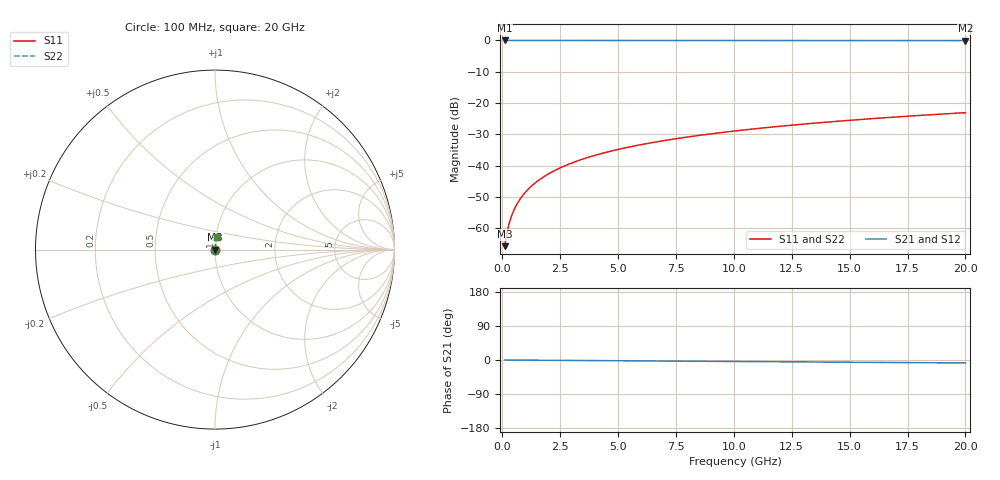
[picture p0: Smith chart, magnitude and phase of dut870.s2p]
! Touchstone file exported from HFSS 2026.1.0
!  File:  C:/ffzhzh/LocalFiles/Ansys_Project_Files/temp_train_TSV_870_1783185538_18472.aedt
!  Generated:  01:20:40 AM Jul  5, 2026
!  Design:  TSV
!  Project:  temp_train_TSV_870_1783185538_18472
! Variables:
!  h_bsmrdl = 2um
!  h_ox = 20um
!  h_rdl = 5um
!  h_sub = 62.11um
!  h_tmrdl = 5um
!  h_tsv = 62.11um
!  h_via = 3um
!  l_bsmrdl = 300um
!  l_sub = 409.64um
!  l_tmrdl = 200um
!  m_sub = 200um
!  pitch = 44.7um
!  r_tsv = 4.82um
!  s_tmrdl = 10um
!  w_bsmrdl = 18um
!  w_sub = 500um
!  w_tmrdl = 12um
!  x_tsv_center1 = 206um
!  x_tsv_center2 = 524um
!  x_tsv_center3 = 736um
!  x_tsv_center4 = 1054um
!  x_tsv_center5 = 1266um
!  x_tsv_center6 = 1584um
# GHz S MA R 50.000000
! Terminal data exported
! Port[1] = TSV1_1_T1
! Port[2] = TSV1_1_T2
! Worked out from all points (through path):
!   200 points, 100 MHz to 20 GHz, reference 50 ohm
!   highest |S21| = 0.00 dB at 100 MHz (marker M1); lowest = 0.0 dB at 20 GHz (marker M2)
!   group delay of S21, straight-line fit = 1.08 ps
!   lowest |S11| = -65.8 dB at 100 MHz (marker M3), VSWR 1.00, Z = 50 + j0.0386 ohm
!   |S11| at or under -10 dB: start of sweep to end of sweep
!   |S22| runs from -65.8 to -23.1 dB; largest |S21 - S12| = 8.7e-15
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0.1  0.0005142 48.7  0.9997 -0.0  0.9997 -0.0  0.0005142 48.7
! Gamma 0 0 0 0
! Port Impedance 50 0 50 0
0.2  0.000845 65.6  0.9997 -0.1  0.9997 -0.1  0.000845 65.6
0.3  0.001204 72.4  0.9996 -0.1  0.9996 -0.1  0.001204 72.4
0.4  0.001568 76.0  0.9996 -0.2  0.9996 -0.2  0.001568 76.0
0.5  0.001933 78.2  0.9996 -0.2  0.9996 -0.2  0.001933 78.2
0.7  0.002661 80.8  0.9996 -0.3  0.9996 -0.3  0.002661 80.8
0.8  0.003025 81.6  0.9996 -0.3  0.9996 -0.3  0.003025 81.6
1  0.003752 82.8  0.9995 -0.4  0.9995 -0.4  0.003752 82.8
1.2  0.004478 83.6  0.9995 -0.5  0.9995 -0.5  0.004478 83.6
1.4  0.005205 84.2  0.9995 -0.6  0.9995 -0.6  0.005205 84.2
1.7  0.006295 84.7  0.9995 -0.7  0.9995 -0.7  0.006295 84.7
2  0.007382 85.0  0.9994 -0.8  0.9994 -0.8  0.007382 85.0
2.7  0.00991 85.4  0.9993 -1.1  0.9993 -1.1  0.00991 85.4
3.5  0.01278 85.5  0.9992 -1.4  0.9992 -1.4  0.01278 85.5
4.2  0.01527 85.4  0.9991 -1.7  0.9991 -1.7  0.01527 85.4
5  0.0181 85.3  0.999 -2.0  0.999 -2.0  0.0181 85.3
6.8  0.02442 84.9  0.9987 -2.7  0.9987 -2.7  0.02442 84.9
8.3  0.02965 84.5  0.9984 -3.3  0.9984 -3.3  0.02965 84.5
10.1  0.03592 84.0  0.9981 -4.0  0.9981 -4.0  0.03592 84.0
13.4  0.04736 83.0  0.9974 -5.3  0.9974 -5.3  0.04736 83.0
16.7  0.05874 81.9  0.9967 -6.5  0.9967 -6.5  0.05874 81.9
20  0.07004 80.7  0.9958 -7.8  0.9958 -7.8  0.07004 80.7
